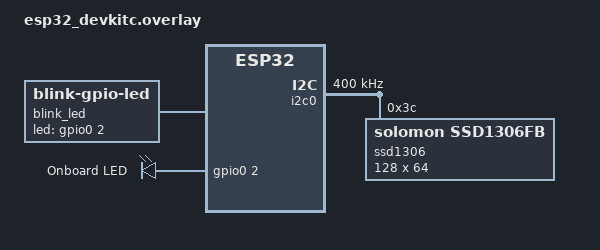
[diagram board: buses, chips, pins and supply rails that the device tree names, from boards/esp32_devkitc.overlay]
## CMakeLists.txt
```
#===============================================================================
# nRF5340 DK Matter Smart Light - Dual-Core Build System
#===============================================================================
#
# Copyright (c) 2025 Sprchuoi
# SPDX-License-Identifier: Apache-2.0
#
# Purpose:
#   Production-grade build configuration for Matter smart light on nRF5340 DK
#   Builds separate firmware images for APP core (Matter) and NET core (Thread)
#
# Architecture:
#   ┌──────────────────────────────────────────┐
#   │         nRF5340 DK Dual Core             │\n#   ├──────────────────────────────────────────┤
#   │ APP Core (Cortex-M33 @ 128MHz)           │\n#   │ - Matter protocol + Light control         │\n#   │ - LED/Button handling                    │\n#   │ - User-facing commissioning               │\n#   │ - Cluster attributes & reporting         │\n#   ├──────────────────────────────────────────┤
#   │ NET Core (Cortex-M33 @ 64MHz)            │\n#   │ - OpenThread 802.15.4 stack               │\n#   │ - BLE commissioning radio                │\n#   │ - Network join & routing                 │\n#   │ - Radio scheduler                       │\n#   └──────────────────────────────────────────┘
#
# Build Targets:
#   - nrf5340dk_nrf5340_cpuapp: Matter application\n#   - nrf5340dk_nrf5340_cpunet: Thread networking
#
# Usage:\n#   west build -b nrf5340dk_nrf5340_cpuapp -d build_app .\n#   west build -b nrf5340dk_nrf5340_cpunet -d build_net .
#
#===============================================================================

cmake_minimum_required(VERSION 3.13.1)

# Select appropriate device tree overlay based on target core
if(CONFIG_SOC_NRF5340_CPUAPP)
    set(DTC_OVERLAY_FILE "${CMAKE_CURRENT_SOURCE_DIR}/boards/nrf5340dk_nrf5340_cpuapp.overlay")
elseif(CONFIG_SOC_NRF5340_CPUNET)
    set(DTC_OVERLAY_FILE "${CMAKE_CURRENT_SOURCE_DIR}/boards/nrf5340dk_nrf5340_cpunet.overlay")
endif()

find_package(Zephyr REQUIRED HINTS $ENV{ZEPHYR_BASE})

project(nrf5340_matter_light LANGUAGES C CXX)

# C++ Standard Library
set(CMAKE_CXX_STANDARD 17)
set(CMAKE_CXX_STANDARD_REQUIRED ON)

# ===== APP CORE SOURCES - Matter Protocol + LED/Button Control =====
# Target: nrf5340dk_nrf5340_cpuapp (Cortex-M33 @ 128 MHz)
if(CONFIG_SOC_NRF5340_CPUAPP)
    target_sources(app PRIVATE
        # Core application - main entry point and event loop
        src/app_core/app_core.cpp
        src/app_core/cpp_support.cpp
        
        # Shared SDK - Protocol layer (Matter + Thread)
        src/sdk/protocol/matter/control_app/app_task.cpp
        src/sdk/protocol/matter/control_app/app_task_phase0.cpp
        src/sdk/protocol/matter/control_app/app_task_phase1.cpp
        src/sdk/protocol/matter/control_app/app_task_phase2.cpp
        src/sdk/protocol/matter/control_app/app_task_phase3.cpp
        src/sdk/protocol/matter/control_app/app_task_phase4.cpp
        src/sdk/protocol/matter/control_app/app_task_phase5.cpp
        src/sdk/protocol/matter/control_app/app_task_phase6.cpp
        src/sdk/protocol/matter/light_endpoint/light_endpoint.cpp
        src/sdk/protocol/matter/commission/commissioning_delegate.cpp
        src/sdk/protocol/thread/thread_network_manager.cpp
        src/sdk/protocol/thread/network_resilience_manager.cpp
        
        # Shared SDK - Hardware abstraction layer
        src/sdk/hw/button/button_manager.cpp
        src/sdk/hw/uart/uart_manager.cpp
        
        # Shared SDK - IPC module for inter-core communication
        src/sdk/ipc/ipc_core.cpp
    )
endif()

# ===== NET CORE SOURCES - OpenThread + BLE Radio =====
# Target: nrf5340dk_nrf5340_cpunet (Cortex-M33 @ 64 MHz)
if(CONFIG_SOC_NRF5340_CPUNET)
    target_sources(app PRIVATE 
        # Network core with state machine
        src/net_core/net_core.cpp
        
        # Shared SDK - IPC module for inter-core communication
        src/sdk/ipc/ipc_core.cpp
        
        # Shared SDK - Protocol layer (BLE and Radio subsystems)
        src/sdk/protocol/ble/ble_manager.cpp
        src/sdk/protocol/radio/radio_manager.cpp
    )
endif()

#===============================================================================
# INCLUDE DIRECTORIES - Source Tree Organization
#===============================================================================
# Make headers available throughout the project
target_include_directories(app PRIVATE 
    src                                    # Core source root
    src/app_core                           # APP core headers
    src/net_core                           # NET core headers
    src/sdk                                # Shared SDK headers root
    src/sdk/hw                             # Hardware abstraction layer
    src/sdk/protocol                       # Protocol layer
    src/sdk/services                       # Services layer
    src/sdk/ipc                            # IPC headers
    ${CMAKE_CURRENT_SOURCE_DIR}/../include # Public API headers
)

#===============================================================================
# LINK LIBRARIES - C++ Standard Library
#===============================================================================
# Link against C++ standard library for C++ features
target_link_libraries(app PRIVATE stdc++)
```

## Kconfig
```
# Copyright (c) 2021 Nordic Semiconductor ASA
# SPDX-License-Identifier: Apache-2.0
#
# This file is the application Kconfig entry point. All application Kconfig
# options can be defined here or included via other application Kconfig files.
# You can browse these options using the west targets menuconfig (terminal) or
# guiconfig (GUI).

menu "Zephyr"
source "Kconfig.zephyr"
endmenu

module = APP
module-str = APP
source "subsys/logging/Kconfig.template.log_config"

menu "Voice Control"

config APP_VOICE_CONTROL
	bool "Enable voice control features"
	default y
	help
	  Enable voice control with I2S microphone, wake-word detection,
	  MQTT communication, and OTA updates.

config APP_I2S_MIC
	bool "Enable I2S microphone"
	depends on APP_VOICE_CONTROL
	depends on I2S
	default y
	help
	  Enable I2S MEMS microphone (e.g., INMP441) for audio capture.

config APP_WAKEWORD
	bool "Enable wake-word detection"
	depends on APP_VOICE_CONTROL
	default y
	help
	  Enable local wake-word detection for voice activation.

if APP_WAKEWORD

choice APP_WAKEWORD_MODEL_TYPE
	prompt "Wake-word model type"
	default APP_WAKEWORD_MODEL_EDGE_IMPULSE
	help
	  Select the type of model to use for wake-word detection.

config APP_WAKEWORD_MODEL_EDGE_IMPULSE
	bool "Edge Impulse model"
	help
	  Use an Edge Impulse trained model (TensorFlow Lite for Microcontrollers).

config APP_WAKEWORD_MODEL_CUSTOM
	bool "Custom model"
	help
	  Use a custom model format.

config APP_WAKEWORD_MODEL_PLACEHOLDER
	bool "Placeholder (energy-based detection)"
	help
	  Use simple energy-based detection for testing without a real model.

endchoice

config APP_WAKEWORD_MODEL_FILE
	string "Model file path"
	default "wakeword_model.tflite"
	depends on APP_WAKEWORD_MODEL_EDGE_IMPULSE || APP_WAKEWORD_MODEL_CUSTOM
	help
	  Path to the model file (relative to project root or absolute).
	  For Edge Impulse, this should be a .tflite file.

config APP_WAKEWORD_MODEL_EMBEDDED
	bool "Embed model in binary"
	default y
	depends on APP_WAKEWORD_MODEL_EDGE_IMPULSE || APP_WAKEWORD_MODEL_CUSTOM
	help
	  Embed the model data directly in the firmware binary.
	  If disabled, model will be loaded from external storage.

config APP_WAKEWORD_ARENA_SIZE
	int "TensorFlow Lite arena size (bytes)"
	default 8192
	depends on APP_WAKEWORD_MODEL_EDGE_IMPULSE
	help
	  Memory arena size for TensorFlow Lite Micro operations.
	  Adjust based on model complexity.

endif # APP_WAKEWORD

config APP_MQTT
	bool "Enable MQTT client"
	depends on APP_VOICE_CONTROL
	depends on MQTT_LIB
	depends on NET_IPV4
	default y
	help
	  Enable MQTT client for communication with Raspberry Pi broker.

config APP_OTA
	bool "Enable OTA updates"
	depends on APP_VOICE_CONTROL
	depends on BOOTLOADER_MCUBOOT
	depends on HTTP_CLIENT
	default y
	help
	  Enable over-the-air firmware updates via HTTP.

config APP_VERSION
	string "Application version"
	default "1.0.0"
	help
	  Semantic version string for the application.

endmenu

menu "WiFi Configuration"

config WIFI_SSID
	string "WiFi SSID for station mode"
	default "ESP32_Network"
	help
	  WiFi network SSID to connect to in station mode.
	  Override in wifi_config.conf (gitignored).

config WIFI_PASSWORD
	string "WiFi password for station mode"
	default "password123"
	help
	  WiFi network password for station mode.
	  Override in wifi_config.conf (gitignored).

config WIFI_AP_SSID
	string "WiFi SSID for AP mode"
	default "ESP32_SmartHome"
	help
	  WiFi access point SSID when running in AP mode.

config WIFI_AP_PASSWORD
	string "WiFi password for AP mode"
	default "12345678"
	help
	  WiFi access point password (minimum 8 characters).

config WIFI_CHANNEL
	int "WiFi channel hint (0 = scan all channels)"
	default 0
	range 0 13
	help
	  If you know which channel your WiFi router uses, set it here
	  to speed up connection (skips scanning other channels).
	  Set to 0 to scan all channels (slower but more reliable).
	  Common channels: 1, 6, 11 (non-overlapping in 2.4GHz).
	  
	  To find your router's channel:
	  - Windows: netsh wlan show networks mode=bssid
	  - Linux: iwlist scan | grep Channel
	  - Router admin page: Look for "Wireless Channel"

endmenu

menu "MQTT Configuration"

config MQTT_BROKER_HOSTNAME
	string "MQTT broker hostname or IP address"
	default "192.168.2.1"
	help
	  MQTT broker hostname or IP address to connect to.
	  Override in mqtt_config.conf (gitignored).

config MQTT_BROKER_PORT
	int "MQTT broker port"
	default 1883
	range 1 65535
	help
	  MQTT broker TCP port (typically 1883 for non-TLS, 8883 for TLS).

config MQTT_CLIENT_ID
	string "MQTT client ID"
	default "esp32_001"
	help
	  Unique client identifier for MQTT connection.
	  Override in mqtt_config.conf (gitignored).

config MQTT_USERNAME
	string "MQTT username"
	default "esp32_user"
	help
	  MQTT broker authentication username.
	  Override in mqtt_config.conf (gitignored).

config MQTT_PASSWORD
	string "MQTT password"
	default "password"
	help
	  MQTT broker authentication password.
	  Override in mqtt_config.conf (gitignored).

config MQTT_DEVICE_ID
	string "Device ID for MQTT topics"
	default "esp32_001"
	help
	  Device identifier used in MQTT topic names.
	  Example: smart_home/devices/{device_id}/status

endmenu
```

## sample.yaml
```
# This file is provided so that the application can be compiled using Twister,
# the Zephyr testing tool. In this file, multiple combinations can be specified,
# so that you can easily test all of them locally or in CI.
sample:
  description: Smart Home Application
  name: smart-home-application
common:
  build_only: true
  integration_platforms:
    - custom_plank
    - nucleo_f302r8
    - esp32_wroom_32
tests:
  app.default: {}
  app.debug:
    extra_overlay_confs:
      - debug.conf
```

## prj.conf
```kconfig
# nRF5340 DK Matter Smart Light - Minimal Configuration
# Dual-core: APP core + NET core

#===============================================================================
# ZEPHYR KERNEL
#===============================================================================
CONFIG_MAIN_STACK_SIZE=4096
CONFIG_SYSTEM_WORKQUEUE_STACK_SIZE=2048
CONFIG_HEAP_MEM_POOL_SIZE=8192

#===============================================================================
# GPIO (Buttons & LEDs)
#===============================================================================
CONFIG_GPIO=y

#===============================================================================
# UART & LOGGING
#===============================================================================
CONFIG_SERIAL=y
CONFIG_UART_CONSOLE=y
CONFIG_CONSOLE=y
CONFIG_PRINTK=y
CONFIG_LOG=y
CONFIG_LOG_BACKEND_UART=y
CONFIG_LOG_MODE_IMMEDIATE=y
CONFIG_LOG_DEFAULT_LEVEL=4

#===============================================================================
# C++ SUPPORT (for app_core.cpp)
#===============================================================================
CONFIG_CPP=y
CONFIG_STD_CPP17=y
CONFIG_NEWLIB_LIBC=y

#===============================================================================
# FLASH & STORAGE
#===============================================================================
CONFIG_FLASH=y
CONFIG_FLASH_MAP=y
CONFIG_NVS=y
CONFIG_SETTINGS=y
CONFIG_SETTINGS_NVS=y

#===============================================================================
# DEBUG
#===============================================================================
CONFIG_DEBUG=y
CONFIG_DEBUG_OPTIMIZATIONS=y
CONFIG_ASSERT=y

#===============================================================================
# IPC (Inter-Processor Communication) - Dual Core Communication
#===============================================================================
CONFIG_IPC_SERVICE=y
CONFIG_MBOX=y
CONFIG_IPC_SERVICE_BACKEND_RPMSG=y
CONFIG_IPC_SERVICE_STATIC_VRINGS=y
CONFIG_IPC_SERVICE_STATIC_VRINGS_MEM_ALIGNMENT=4

# Increase IPC buffer sizes for better throughput
CONFIG_RPMSG_SERVICE_NUM_ENDPOINTS=2
CONFIG_HEAP_MEM_POOL_SIZE=16384

#======= OS SYstem ======
CONFIG_REBOOT=y # Enable sys_reboot function

# Fault diagnostics
CONFIG_FAULT_DUMP=2
CONFIG_EXCEPTION_STACK_TRACE=y
```

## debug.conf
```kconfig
# Copyright (c) 2021 Nordic Semiconductor ASA
# SPDX-License-Identifier: Apache-2.0
#
# This is a Kconfig fragment which can be used to enable debug-related options
# in the application. See the README for more details.

# compiler
# CONFIG_DEBUG_OPTIMIZATIONS=y

# logging
CONFIG_LOG=y
CONFIG_LOG_DEFAULT_LEVEL=2
```

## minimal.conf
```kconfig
# Minimal Voice Control Configuration
# MQTT + OTA + Health Ping only

# Voice Control (minimal)
CONFIG_APP_VOICE_CONTROL=y
CONFIG_APP_I2S_MIC=n
CONFIG_APP_WAKEWORD=n
CONFIG_APP_MQTT=y
CONFIG_APP_OTA=y
CONFIG_APP_VERSION="1.0.0"

# Disable unused modules
CONFIG_APP_SENSOR=n
CONFIG_APP_DISPLAY=n

# MQTT Configuration
CONFIG_MQTT_LIB=y
CONFIG_MQTT_KEEPALIVE=60

# Networking
CONFIG_NETWORKING=y
CONFIG_NET_IPV4=y
CONFIG_NET_TCP=y
CONFIG_NET_SOCKETS=y
CONFIG_DNS_RESOLVER=y

# HTTP Client for OTA
CONFIG_HTTP_CLIENT=y

# MCUboot for OTA
CONFIG_BOOTLOADER_MCUBOOT=y
CONFIG_IMG_MANAGER=y
CONFIG_MCUBOOT_IMG_MANAGER=y
CONFIG_FLASH=y
CONFIG_FLASH_MAP=y

# WiFi
CONFIG_WIFI=y
CONFIG_WIFI_ESP32=y

# Reduce memory footprint
CONFIG_MAIN_STACK_SIZE=2048
CONFIG_HEAP_MEM_POOL_SIZE=16384
CONFIG_BT=n
CONFIG_I2S=n

# Minimal logging
CONFIG_LOG=y
CONFIG_LOG_MODE_MINIMAL=y
```

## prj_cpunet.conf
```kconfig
# nRF5340 DK NET Core - OpenThread + BLE Configuration
# Network core for Thread protocol stack

#===============================================================================
# ZEPHYR KERNEL (Minimal for NET core)
#===============================================================================
CONFIG_MAIN_STACK_SIZE=2048
CONFIG_SYSTEM_WORKQUEUE_STACK_SIZE=1024
CONFIG_HEAP_MEM_POOL_SIZE=4096

#===============================================================================
# BLUETOOTH LE (for Matter commissioning)
#===============================================================================
CONFIG_BT=y
CONFIG_BT_PERIPHERAL=y
CONFIG_BT_CENTRAL=n
CONFIG_BT_DEVICE_NAME="nRF5340-Thread"

#===============================================================================
# IEEE 802.15.4 RADIO
#===============================================================================
CONFIG_IEEE802154=y
CONFIG_IEEE802154_NRF5=y
CONFIG_IEEE802154_VENDOR_OUI_ENABLE=y

#===============================================================================
# IPC (Inter-Processor Communication)
#===============================================================================
CONFIG_IPC_SERVICE=y
CONFIG_MBOX=y

#===============================================================================
# LOGGING (Minimal - NET core logs via IPC)
#===============================================================================
CONFIG_LOG=y
CONFIG_LOG_DEFAULT_LEVEL=2
CONFIG_LOG_MODE_MINIMAL=y

#===============================================================================
# DEBUG
#===============================================================================
CONFIG_DEBUG=y
CONFIG_DEBUG_OPTIMIZATIONS=y

#===============================================================================
# C++ SUPPORT
#===============================================================================
CONFIG_CPP=y
CONFIG_STD_CPP17=y
CONFIG_STATIC_INIT_GNU=y
```

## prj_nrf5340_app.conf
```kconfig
#
# Copyright (c) 2025 Sprchuoi
# SPDX-License-Identifier: Apache-2.0
#
# Matter Smart Light on nRF5340 DK
# APP Core Configuration (Matter + LED/Button)


# ====== Bluetooth (for Matter commissioning) ======
CONFIG_BT=y
CONFIG_BT_PERIPHERAL=y
CONFIG_BT_DEVICE_NAME="nRF5340 Matter Light"
CONFIG_BT_MAX_CONN=1
CONFIG_BT_MAX_PAIRED=1
CONFIG_BT_GATT_DYNAMIC_DB=y
CONFIG_BT_GATT_SERVICE_CHANGED=y

# ====== GPIO & LED Control ======
CONFIG_GPIO=y

# ====== Kernel ======
CONFIG_MAIN_STACK_SIZE=4096
CONFIG_SYSTEM_WORKQUEUE_STACK_SIZE=2048
CONFIG_INIT_STACKS=y

# ====== Memory & Storage ======
CONFIG_FLASH=y
CONFIG_SETTINGS=y
CONFIG_SETTINGS_NVS=y

# ====== Networking (6LoWPAN) ======
CONFIG_NETWORKING=y
CONFIG_NET_IPV6=y
CONFIG_NET_UDP=y
CONFIG_COAP=y

# ====== Serial/UART ======
CONFIG_SERIAL=y
CONFIG_UART_CONSOLE=y
CONFIG_PRINTK=y

#======= OS SYstem ======
CONFIG_REBOOT=y # Enable sys_reboot function

# Required system options
CONFIG_MULTITHREADING=y
CONFIG_HEAP_MEM_POOL_SIZE=16384
CONFIG_IPC_SERVICE_BACKEND_RPMSG=y

#OPEN AMP Options
CONFIG_OPENAMP=y
CONFIG_OPENAMP_MASTER=y

# IPC service
CONFIG_IPC_SERVICE=y

# RPMsg
CONFIG_RPMSG_SERVICE=y
```

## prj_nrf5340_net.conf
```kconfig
#
# Copyright (c) 2025 Sprchuoi
# SPDX-License-Identifier: Apache-2.0
#
# NET Core Configuration
# Thread + BLE Commissioning on nRF5340

# ====== OpenThread (Thread Stack) ======
# CONFIG_OPENTHREAD_ENABLED=y
# CONFIG_OPENTHREAD_THREAD_VERSION=14
CONFIG_OPENTHREAD_COMMISSIONER=n
CONFIG_OPENTHREAD_JOINER=y
CONFIG_OPENTHREAD_MANUAL_START=y

# ====== 802.15.4 Radio ======
CONFIG_IEEE802154=y
CONFIG_IEEE802154_NRF5=y
CONFIG_IEEE802154_L2=y
# CONFIG_IEEE802154_NRF5_EXT_FULL_ADDRESS=y
# CONFIG_IEEE802154_ACK_TIMEOUT=5

# ====== Bluetooth (Commissioning) ======
CONFIG_BT=y
CONFIG_BT_LL_SW_SPLIT=y
CONFIG_BT_HCI=y

# ====== Logging ======
CONFIG_LOG=y
CONFIG_LOG_DEFAULT_LEVEL=2

# ====== Kernel ======
CONFIG_MAIN_STACK_SIZE=2048
CONFIG_SYSTEM_WORKQUEUE_STACK_SIZE=2048

# ====== Networking ======
CONFIG_NETWORKING=y
CONFIG_NET_IPV6=y
CONFIG_NET_UDP=y

# ====== Memory ======
CONFIG_FLASH=y
CONFIG_SETTINGS=y
CONFIG_SETTINGS_NVS=y

# ====== Serial/UART ======
CONFIG_SERIAL=y
CONFIG_UART_CONSOLE=y
CONFIG_PRINTK=y

# ====== IPC (Inter-Processor Communication) ======
CONFIG_IPC_SERVICE=y
CONFIG_MBOX=y
CONFIG_IPC_SERVICE_BACKEND_RPMSG=y
CONFIG_IPC_SERVICE_STATIC_VRINGS=y
CONFIG_IPC_SERVICE_STATIC_VRINGS_MEM_ALIGNMENT=4

# ====== C++ Support for IPC Module ======
CONFIG_CPP=y
CONFIG_STD_CPP17=y
CONFIG_NEWLIB_LIBC=y
CONFIG_HEAP_MEM_POOL_SIZE=8192

# OpenAMP
CONFIG_OPENAMP=y
CONFIG_RPMSG=y
CONFIG_OPENAMP_RSC_TABLE=y
CONFIG_OPENAMP_REMOTE=y
CONFIG_IPC_SERVICE_BACKEND_OPENAMP=y
# RPMsg
CONFIG_RPMSG_SERVICE=y

# Debug (strongly recommended)
CONFIG_DEBUG=y
CONFIG_NO_OPTIMIZATIONS=y
CONFIG_USE_SEGGER_RTT=y
CONFIG_LOG_BACKEND_RTT=y
CONFIG_LOG_BACKEND_UART=n


# Required helpers
CONFIG_NET_L2_IEEE802154=y
CONFIG_NET_PKT_RX_COUNT=16
CONFIG_NET_PKT_TX_COUNT=16
```

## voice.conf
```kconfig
# Voice Control Configuration
CONFIG_APP_VOICE_CONTROL=y
CONFIG_APP_I2S_MIC=y
CONFIG_APP_WAKEWORD=y
CONFIG_APP_WAKEWORD_MODEL_PLACEHOLDER=y
CONFIG_APP_MQTT=y
CONFIG_APP_OTA=y
CONFIG_APP_VERSION="1.0.0"

# I2S Configuration
CONFIG_I2S=y

# MQTT Configuration
CONFIG_MQTT_LIB=y
CONFIG_MQTT_KEEPALIVE=60

# Networking for MQTT
CONFIG_NETWORKING=y
CONFIG_NET_IPV4=y
CONFIG_NET_TCP=y
CONFIG_NET_SOCKETS=y
CONFIG_DNS_RESOLVER=y

# HTTP Client for OTA
CONFIG_HTTP_CLIENT=y

# MCUboot for OTA
CONFIG_BOOTLOADER_MCUBOOT=y
CONFIG_IMG_MANAGER=y
CONFIG_MCUBOOT_IMG_MANAGER=y
CONFIG_FLASH=y
CONFIG_FLASH_MAP=y

# Flash partitions
CONFIG_PM_PARTITION_SIZE_MCUBOOT=0x10000
CONFIG_PM_PARTITION_SIZE_IMAGE_0=0x100000
CONFIG_PM_PARTITION_SIZE_IMAGE_1=0x100000

# Increase stack sizes for voice processing
CONFIG_MAIN_STACK_SIZE=4096
CONFIG_SYSTEM_WORKQUEUE_STACK_SIZE=2048

# Floating point for audio processing
CONFIG_FPU=y
```

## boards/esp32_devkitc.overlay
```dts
/*
 * Copyright (c) 2021 Nordic Semiconductor ASA
 * SPDX-License-Identifier: Apache-2.0
 */

/* This devicetree overlay file will be automatically picked by the Zephyr
 * build system when building the sample for the esp32_devkitc_wroom board.
 */

/ {
	example_sensor: example-sensor {
		compatible = "zephyr,example-sensor";
		input-gpios = <&gpio0 0 (GPIO_PULL_UP | GPIO_ACTIVE_LOW)>;
		status = "disabled";  /* Disable for ESP32 - no physical sensor */
	};

	blink_led: blink-led {
		compatible = "blink-gpio-led";
		led-gpios = <&gpio0 2 GPIO_ACTIVE_HIGH>;  /* Onboard LED on ESP32 DevKitC */
		blink-period-ms = <1000>;
	};

	chosen {
		zephyr,display = &ssd1306;
	};
	
	aliases {
		led0 = &board_led;
	};
	
	leds {
		compatible = "gpio-leds";
		board_led: led_0 {
			gpios = <&gpio0 2 GPIO_ACTIVE_HIGH>;
			label = "Onboard LED";
		};
	};
};

&i2c0 {
	status = "okay";
	clock-frequency = <I2C_BITRATE_FAST>;
	pinctrl-0 = <&i2c0_default>;
	pinctrl-names = "default";

	ssd1306: ssd1306@3c {
		compatible = "solomon,ssd1306fb";
		reg = <0x3c>;
		width = <128>;
		height = <64>;
		segment-offset = <0>;
		page-offset = <0>;
		display-offset = <0>;
		multiplex-ratio = <63>;
		prechargep = <0x22>;
	};
};

/ {
	wifi_ap: wifi_ap {
		compatible = "espressif,esp32-wifi";
		status = "okay";
	};
};

/* I2S Configuration for INMP441 Microphone */
/ {
	i2s_pinctrl: i2s_pinctrl {
		compatible = "gpio";
		/* INMP441 wiring:
		 * SCK (BCLK) -> GPIO26
		 * WS  (LRCLK) -> GPIO25
		 * SD  (DIN)   -> GPIO33
		 */
		bclk-pin = <26>;
		ws-pin = <25>;
		din-pin = <33>;
	};
};
```

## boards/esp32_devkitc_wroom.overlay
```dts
/*
 * Copyright (c) 2021 Nordic Semiconductor ASA
 * SPDX-License-Identifier: Apache-2.0
 */

/* This devicetree overlay file will be automatically picked by the Zephyr
 * build system when building the sample for the esp32_devkitc_wroom board.
 */

/ {
	example_sensor: example-sensor {
		compatible = "zephyr,example-sensor";
		input-gpios = <&gpio0 0 (GPIO_PULL_UP | GPIO_ACTIVE_LOW)>;
	};

	blink_led: blink-led {
		compatible = "blink-gpio-led";
		led-gpios = <&gpio0 2 GPIO_ACTIVE_HIGH>;
		blink-period-ms = <1000>;
	};
};
```

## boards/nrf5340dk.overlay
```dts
/* 
 * Copyright (c) 2025 Sprchuoi
 * SPDX-License-Identifier: Apache-2.0
 *
 * APP Core Device Tree Overlay for nRF5340 DK
 * Matter Smart Light with Thread networking - 4 LED control
 */

/* 
 * APP Core Device Tree Overlay for nRF5340 DK
 */

/* APP Core Device Tree Overlay for nRF5340 DK */

&pinctrl {
    i2c0_default: i2c0_default {
        group1 {
            psels = <NRF_PSEL(TWIM_SDA, 0, 26)>,
                    <NRF_PSEL(TWIM_SCL, 0, 27)>;
        };
    };

    i2c0_sleep: i2c0_sleep {
        group1 {
            psels = <NRF_PSEL(TWIM_SDA, 0, 26)>,
                    <NRF_PSEL(TWIM_SCL, 0, 27)>;
            low-power-enable;
        };
    };
};

 / {
    aliases {
        led0 = &led0;
        led1 = &led1;
        led2 = &led2;
        led3 = &led3;
        sw0 = &button0;
        sw1 = &button1;
        sw2 = &button2;
        sw3 = &button3;
    };

    chosen {
        zephyr,console = &uart0;
        zephyr,shell-uart = &uart0;
        zephyr,ipc-shm = &sram0_shared;
    };
};

/* Shared memory for OpenAMP */
&sram0_shared {
    compatible = "shared-dma-pool";
    reg = <0x20070000 0x10000>; /* 64 KB */
};

&uart0 {
    status = "okay";
    current-speed = <115200>;
};

&i2c0 {
    compatible = "nordic,nrf-twim";
    status = "okay";
    pinctrl-0 = <&i2c0_default>;
    pinctrl-1 = <&i2c0_sleep>;
    pinctrl-names = "default", "sleep";
};
```

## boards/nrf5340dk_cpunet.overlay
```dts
/* 
 * NET Core Device Tree Overlay for nRF5340 DK
 * OpenThread + BLE radio management
 */

/ {
    chosen {
        zephyr,ieee802154 = &ieee802154;
        zephyr,ipc-shm = &sram0_shared;
    };
};

&sram0_shared {
    compatible = "shared-dma-pool";
    reg = <0x20070000 0x10000>; /* 64 KB */
};
```

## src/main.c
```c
/*
 * Copyright (c) 2021 Nordic Semiconductor ASA
 * SPDX-License-Identifier: Apache-2.0
 */

#include <zephyr/kernel.h>
#include <zephyr/logging/log.h>

#include <app_version.h>

#include "modules/blink/blink_module.h"
#include "modules/sensor/sensor_module.h"
#include "modules/ble/ble_module.h"
#include "modules/wifi/wifi_module.h"
#include "modules/display/display_module.h"
#include "modules/button/button_module.h"

#include "thread/blink_task.h"
#include "thread/sensor_task.h"
#include "thread/ble_task.h"
#include "thread/wifi_task.h"
#include "thread/display_task.h"

LOG_MODULE_REGISTER(main, CONFIG_APP_LOG_LEVEL);

/// Updated for ESP32-WROOM-32 DevKit

int main(void)
{
	int ret;

	printk("Zephyr Example Application %s\n", APP_VERSION_STRING);
	printk("ESP32-WROOM-32 with Modular Architecture\n");

	/* Initialize modules */
	ret = blink_module_init();
	if (ret < 0) {
		LOG_ERR("Failed to initialize blink module (%d)", ret);
		return 0;
	}

	ret = sensor_module_init();
	if (ret < 0) {
		LOG_ERR("Failed to initialize sensor module (%d)", ret);
		return 0;
	}

	ret = ble_module_init();
	if (ret < 0) {
		LOG_ERR("Failed to initialize BLE module (%d)", ret);
		return 0;
	}

	/* Initialize WiFi in AP+STA mode (default) */
	ret = wifi_module_init(WIFI_MODE_AP_STA);
	if (ret < 0) {
		LOG_ERR("Failed to initialize WiFi module (%d)", ret);
		return 0;
	}

	ret = display_module_init();
	if (ret < 0) {
		LOG_ERR("Failed to initialize display module (%d)", ret);
		return 0;
	}

	ret = button_module_init();
	if (ret < 0) {
		LOG_ERR("Failed to initialize button module (%d)", ret);
		return 0;
	}

	LOG_INF("All modules initialized");
	printk("Use the sensor to change LED blinking period\n");

	/* Start task threads */
	ret = blink_task_start();
	if (ret < 0) {
		LOG_ERR("Failed to start blink task (%d)", ret);
		return 0;
	}

	ret = sensor_task_start();
	if (ret < 0) {
		LOG_ERR("Failed to start sensor task (%d)", ret);
		return 0;
	}

	ret = ble_task_start();
	if (ret < 0) {
		LOG_ERR("Failed to start BLE task (%d)", ret);
		return 0;
	}

	ret = wifi_task_start();
	if (ret < 0) {
		LOG_ERR("Failed to start WiFi task (%d)", ret);
		return 0;
	}

	ret = display_task_start();
	if (ret < 0) {
		LOG_ERR("Failed to start display task (%d)", ret);
		return 0;
	}

	LOG_INF("All tasks started successfully");

	/* Main thread sleeps */
	while (1) {
		k_sleep(K_FOREVER);
	}

	return 0;
}
```

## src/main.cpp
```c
/*
 * Copyright (c) 2021 Nordic Semiconductor ASA
 * SPDX-License-Identifier: Apache-2.0
 */

#include <zephyr/kernel.h>
#include <zephyr/logging/log.h>
#include <app_version.h>

// C++ Module includes
#include "modules/blink/blinkmodule.hpp"
#include "modules/sensor/sensormodule.hpp"
#if defined(CONFIG_BT)
#include "modules/ble/bleservice.hpp"
#endif
#if defined(CONFIG_WIFI)
#include "modules/wifi/wifiservice.hpp"
#endif
#include "modules/display/displaymodule.hpp"
#include "modules/button/buttonmodule.hpp"
#include "modules/uart/uartmodule.hpp"

// Core infrastructure
#include "menu/menu.hpp"
#include "menu/menu_manager.hpp"

// Task headers
#include "thread/blink_task.h"
#include "thread/sensor_task.h"
#if defined(CONFIG_BT)
#include "thread/ble_task.h"
#endif
#if defined(CONFIG_WIFI)
#include "thread/wifi_task.h"
#endif
#if defined(CONFIG_MQTT_LIB)
#include "thread/mqtt_task.h"
#endif
#include "thread/display_task.h"
#include "thread/uart_task.h"

LOG_MODULE_REGISTER(main, CONFIG_APP_LOG_LEVEL);

/// ESP32-WROOM-32 with C++ OOP Architecture

// Forward declarations
static void Os_Init(void);
static void Os_Start(void);
static void menu_display_callback(MenuItem* menu, MenuItem* selected);

// Menu display callback wrapper
static void menu_display_callback(MenuItem* menu, MenuItem* selected)
{
	DisplayModule::getInstance().renderMenu(menu, selected);
}

extern "C" int main(void)
{
	printk("Zephyr Example Application %s\n", APP_VERSION_STRING);

	Os_Init(); // Initialize OS and modules
	
	Os_Start(); // Start OS threads

	/* Main thread sleeps */
	while (1) {
		k_sleep(K_FOREVER);
	}

	return 0;
}

static void Os_Init(void)
{
	int ret;
	
	// Zephyr OS initializes itself automatically.
	printk("Init OS and modules...\n");
	// Initialize all modules using C++ singletons
	ret = BlinkModule::getInstance().init();
	if (ret < 0) {
		LOG_ERR("Failed to initialize blink module (%d)", ret);
		return;
	}

	ret = SensorModule::getInstance().init();
	if (ret < 0) {
		LOG_WRN("Sensor module not available (%d) - continuing without sensor", ret);
	}

#if defined(CONFIG_BT)
	ret = BleService::getInstance().init();
	if (ret < 0) {
		LOG_ERR("Failed to initialize BLE Service (%d)", ret);
		return;
	}
#endif

#if defined(CONFIG_WIFI)
	ret = WiFiService::getInstance().init(WiFiService::Mode::AP_STA);
	if (ret < 0) {
		LOG_ERR("Failed to initialize WiFi service (%d)", ret);
		return;
	}
#endif

	ret = DisplayModule::getInstance().init();
	if (ret < 0) {
		LOG_ERR("Failed to initialize display module (%d)", ret);
		return;
	}

	ret = ButtonModule::getInstance().init();
	if (ret < 0) {
		LOG_WRN("Button module not available (%d) - continuing without button", ret);
	}

	// Initialize menu system
	ret = MenuManager::getInstance().init();
	if (ret < 0) {
		LOG_ERR("Failed to initialize menu manager (%d)", ret);
		return;
	}
	
	// Set display callback for menu system
	MenuSystem::getInstance().setDisplayCallback(menu_display_callback);

	LOG_INF("All modules initialized");
	printk("Use the sensor to change LED blinking period\n");
} 


static void Os_Start(void)
{
	int ret;
	
	printk("\n*** Starting all tasks ***\n");
	LOG_INF("Starting all tasks");
	
	// Zephyr OS starts its own scheduler automatically.
	// Start task threads
	// ret = blink_task_start();
	// if (ret < 0) {
	// 	LOG_ERR("Failed to start blink task (%d)", ret);
	// 	printk("FAILED to start blink task: %d\n", ret);
	// 	return;
	// }
	// printk("Blink task created\n");

	// ret = sensor_task_start();
	// if (ret < 0) {
	// 	LOG_ERR("Failed to start sensor task (%d)", ret);
	// 	printk("FAILED to start sensor task: %d\n", ret);
	// 	return;
	// }
	// printk("Sensor task created\n");

#if defined(CONFIG_BT)
	ret = ble_task_start();
	if (ret < 0) {
		LOG_ERR("Failed to start BLE task (%d)", ret);
		printk("FAILED to start BLE task: %d\n", ret);
		return;
	}
	printk("BLE task created\n");
#endif

#if defined(CONFIG_WIFI)
	ret = wifi_task_start();
	if (ret < 0) {
		LOG_ERR("Failed to start WiFi task (%d)", ret);
		printk("FAILED to start WiFi task: %d\n", ret);
		return;
	}
	printk("WiFi task created\n");
#endif

#if defined(CONFIG_MQTT_LIB)
	ret = mqtt_task_start();
	if (ret < 0) {
		LOG_ERR("Failed to start MQTT task (%d)", ret);
		printk("FAILED to start MQTT task: %d\n", ret);
		return;
	}
	printk("MQTT task created\n");
#endif

	// ret = display_task_start();
	// if (ret < 0) {
	// 	LOG_ERR("Failed to start display task (%d)", ret);
	// 	printk("FAILED to start display task: %d\n", ret);
	// 	return;
	// }
	// printk("Display task created\n");

	// ret = uart_task_start();
	// if (ret < 0) {
	// 	LOG_ERR("Failed to start UART task (%d)", ret);
	// 	printk("FAILED to start UART task: %d\n", ret);
	// 	return;
	// }
	printk("UART task created\n");
	

	LOG_INF("All tasks started successfully");
	printk("*** All tasks started successfully ***\n\n");
}
```

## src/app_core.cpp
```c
/*
 * Copyright (c) 2024 Nordic Semiconductor ASA
 * SPDX-License-Identifier: Apache-2.0
 *
 * ============================================================================
 * APP CORE - Matter Smart Light Application
 * ============================================================================
 * 
 * Purpose:
 *   Cortex-M33 @ 128 MHz - Matter Light Device with 4 LEDs
 *   Implements Matter protocol + hardware control layer
 *   Manages LED state machine and user input (button)
 *
 * Hardware:
 *   LED0-3: P0.28-31 (4 green LEDs on DK)
 *   Button: P0.23-26 (4 buttons on DK)
 *   UART:   P0.20/22 (debug @ 115200 baud)
 *
 * Features:
 *   - Matter OnOff + Level Control clusters
 *   - 4 LED brightness control
 *   - Button with 100ms debounce
 *   - LED state synchronization
 *   - BLE commissioning (shared radio)
 */

#include <zephyr/kernel.h>
#include <zephyr/logging/log.h>
#include <zephyr/drivers/gpio.h>
#include <zephyr/drivers/uart.h>
#include <zephyr/sys/printk.h>
#include <app_version.h>
#include <stdint.h>
#include <stdio.h>

/* Matter includes */
#include "modules/matter/app_task.hpp"
#include "modules/matter/light_endpoint.hpp"

/* Hardware control */
#include "modules/button/buttonmodule.hpp"
#include "modules/uart/uartmodule.hpp"

LOG_MODULE_REGISTER(app_core, CONFIG_LOG_DEFAULT_LEVEL);

/* Device tree references - 4 LEDs */
/* All 4 LEDs on the board */
static const struct gpio_dt_spec leds[] = {
	GPIO_DT_SPEC_GET(DT_ALIAS(led0), gpios),  /* P0.28 */
	GPIO_DT_SPEC_GET(DT_ALIAS(led1), gpios),  /* P0.29 */
	GPIO_DT_SPEC_GET(DT_ALIAS(led2), gpios),  /* P0.30 */
	GPIO_DT_SPEC_GET(DT_ALIAS(led3), gpios),  /* P0.31 */
};
#define NUM_LEDS 4

/* All 4 buttons on the board - each controls its corresponding LED */
static const struct gpio_dt_spec buttons[] = {
	GPIO_DT_SPEC_GET(DT_ALIAS(sw0), gpios),  /* P0.23 */
	GPIO_DT_SPEC_GET(DT_ALIAS(sw1), gpios),  /* P0.24 */
	GPIO_DT_SPEC_GET(DT_ALIAS(sw2), gpios),  /* P0.25 */
	GPIO_DT_SPEC_GET(DT_ALIAS(sw3), gpios),  /* P0.26 */
};
#define NUM_BUTTONS 4

/* LED state tracking - each button toggles its LED */
static bool led_state[NUM_LEDS] = {false, false, false, false};

/* Button debounce tracking */
static uint32_t last_button_press_ms[NUM_BUTTONS] = {0};
#define DEBOUNCE_MS 100

/* Threads for button handling */
static struct k_thread button_thread_data[NUM_BUTTONS];
static k_tid_t button_thread_id[NUM_BUTTONS];
static K_THREAD_STACK_DEFINE(button_stack_0, 512);
static K_THREAD_STACK_DEFINE(button_stack_1, 512);
static K_THREAD_STACK_DEFINE(button_stack_2, 512);
static K_THREAD_STACK_DEFINE(button_stack_3, 512);
static k_thread_stack_t *button_stacks[] = {
	button_stack_0, button_stack_1, button_stack_2, button_stack_3
};

/*
 * Button callback - toggle corresponding LED
 * cb->pin_mask tells us which button was pressed
 */
static void button_pressed_callback(const struct device *dev, 
                                   struct gpio_callback *cb, 
                                   uint32_t pins)
{
	/* Find which button (0-3) was pressed */
	int button_idx = -1;
	for (int i = 0; i < NUM_BUTTONS; i++) {
		if (buttons[i].port == dev) {
			button_idx = i;
			break;
		}
	}
	
	if (button_idx < 0) {
		return;
	}
	
	uint32_t now = k_uptime_get_32();
	
	/* Debounce: ignore presses within DEBOUNCE_MS */
	if (now - last_button_press_ms[button_idx] < DEBOUNCE_MS) {
		return;
	}
	last_button_press_ms[button_idx] = now;
	
	/* Toggle the LED for this button */
	led_state[button_idx] = !led_state[button_idx];
	gpio_pin_set_dt(&leds[button_idx], led_state[button_idx] ? 1 : 0);
	
	LOG_INF("Button %d pressed - LED%d toggled to %s", 
	        button_idx, button_idx, led_state[button_idx] ? "ON" : "OFF");
}

/*
 * Button monitoring thread - one per button
 */
static void button_thread_func(void *arg1, void *arg2, void *arg3)
{
	int button_idx = (int)(intptr_t)arg1;
	ARG_UNUSED(arg2);
	ARG_UNUSED(arg3);
	
	LOG_INF("Button %d thread started", button_idx);
	
	const struct gpio_dt_spec *btn = &buttons[button_idx];
	
	if (!device_is_ready(btn->port)) {
		LOG_ERR("Button %d device not ready", button_idx);
		return;
	}
	
	int ret = gpio_pin_configure_dt(btn, GPIO_INPUT);
	if (ret < 0) {
		LOG_ERR("Failed to configure button %d: %d", button_idx, ret);
		return;
	}
	
	static struct gpio_callback button_cb_data[NUM_BUTTONS];
	gpio_init_callback(&button_cb_data[button_idx], button_pressed_callback, BIT(btn->pin));
	
	ret = gpio_add_callback(btn->port, &button_cb_data[button_idx]);
	if (ret < 0) {
		LOG_ERR("Failed to add button %d callback: %d", button_idx, ret);
		return;
	}
	
	ret = gpio_pin_interrupt_configure_dt(btn, GPIO_INT_EDGE_TO_ACTIVE);
	if (ret < 0) {
		LOG_ERR("Failed to configure button %d interrupt: %d", button_idx, ret);
		return;
	}
	
	LOG_INF("Button %d interrupt configured on P0.%d", button_idx, btn->pin);
	
	/* Thread keeps running for interrupt handling */
	while (1) {
		k_sleep(K_FOREVER);
	}
}

/*
 * APP Core initialization
 */
static int app_core_init(void)
{
	int ret;
	
	/* Early UART test - this should always print if UART is working */
	printk("\n\n*** nRF5340 DK Booting ***\n");
	printk("*** APP Core Starting ***\n\n");
	
	LOG_INF("============================================");
	LOG_INF("  nRF5340 DK Matter Smart Light (APP Core)  ");
	LOG_INF("  Version: %s", APP_VERSION_STRING);
	LOG_INF("  Cortex-M33 @ 128 MHz");
	LOG_INF("  4 LEDs: P0.28-31");
	LOG_INF("============================================");
	
	/* Initialize all 4 LEDs and turn them ON to verify GPIO works */
	for (int i = 0; i < NUM_LEDS; i++) {
		if (!device_is_ready(leds[i].port)) {
			LOG_ERR("LED%d device not ready", i);
			return -ENODEV;
		}
		
		ret = gpio_pin_configure_dt(&leds[i], GPIO_OUTPUT_ACTIVE);
		if (ret < 0) {
			LOG_ERR("Failed to configure LED%d: %d", i, ret);
			return ret;
		}
		
		/* Turn LED ON */
		led_state[i] = true;
		gpio_pin_set_dt(&leds[i], 1);
		LOG_INF("LED%d initialized and turned ON (P0.%d)", i, 28 + i);
	}
	LOG_INF("All 4 LEDs turned ON - verify all 4 green lights are visible");
	
	/* Initialize Matter application task */
	LOG_INF("Initializing Matter stack...");
	ret = Matter::AppTask::getInstance().init();
	if (ret < 0) {
		LOG_ERR("Failed to initialize Matter AppTask: %d", ret);
		return ret;
	}
	LOG_INF("Matter stack initialized");
	
	/* Initialize Light Endpoint */
	LOG_INF("Initializing Light Endpoint...");
	ret = Matter::LightEndpoint::getInstance().init();
	if (ret < 0) {
		LOG_ERR("Failed to initialize Light Endpoint: %d", ret);
		return ret;
	}
	LOG_INF("Light Endpoint initialized");
	
	/* Create button monitoring threads - one for each button */
	LOG_INF("Starting 4 button monitoring threads...");
	for (int i = 0; i < NUM_BUTTONS; i++) {
		button_thread_id[i] = k_thread_create(
			&button_thread_data[i],
			button_stacks[i],
			K_THREAD_STACK_SIZEOF(button_stack_0),
			button_thread_func,
			(void *)(intptr_t)i, NULL, NULL,
			K_PRIO_COOP(7),
			0,
			K_NO_WAIT
		);
		
		if (!button_thread_id[i]) {
			LOG_ERR("Failed to create button %d thread", i);
			return -ENOMEM;
		}
		
		char thread_name[16];
		snprintf(thread_name, sizeof(thread_name), "button_%d", i);
		k_thread_name_set(button_thread_id[i], thread_name);
		LOG_INF("Button %d thread created", i);
	}
	
	LOG_INF("APP Core initialization complete!");
	LOG_INF("Waiting for Matter commissioning...");
	
	return 0;
}

/*
 * APP Core main loop
 */
extern "C" int main(void)
{
	int ret = app_core_init();
	if (ret < 0) {
		LOG_ERR("APP Core initialization failed: %d", ret);
		return ret;
	}
	
	LOG_INF("APP Core main loop started");
	LOG_INF("Listening for Matter events and button input...");
	
	/* Main loop - process Matter events */
	while (1) {
		/* Matter event processing */
		Matter::AppTask::getInstance().dispatchEvent();
		
		/* Yield to other threads */
		k_sleep(K_MSEC(10));
	}
	
	return 0;
}

/* Initialize after POST_KERNEL phase */
SYS_INIT(app_core_init, POST_KERNEL, CONFIG_APPLICATION_INIT_PRIORITY);
```

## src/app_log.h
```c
/*
 * Copyright (c) 2025 Sprchuoi
 * SPDX-License-Identifier: Apache-2.0
 */

#ifndef APP_LOG_H
#define APP_LOG_H

/*
 * Common log level for application modules
 * Use this instead of CONFIG_APP_LOG_LEVEL which is auto-generated
 */

#ifndef APP_LOG_LEVEL
#ifdef CONFIG_APP_LOG_LEVEL
#define APP_LOG_LEVEL CONFIG_APP_LOG_LEVEL
#else
#define APP_LOG_LEVEL LOG_LEVEL_INF
#endif
#endif

#endif /* APP_LOG_H */
```

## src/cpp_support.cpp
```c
/*
 * Copyright (c) 2025 Sprchuoi
 * SPDX-License-Identifier: Apache-2.0
 */

/**
 * @file cpp_support.cpp
 * @brief Minimal C++ runtime support for embedded systems
 * 
 * Provides minimal implementations of C++ runtime functions
 * needed for singletons, exceptions, and memory management.
 */

#include <zephyr/kernel.h>
#include <zephyr/sys/printk.h>
#include <cstdint>

// Guard type for static initialization
typedef uint64_t __guard_t;

extern "C" {

// Thread-safe static initialization guards
static K_MUTEX_DEFINE(guard_mutex);

int __cxa_guard_acquire(__guard_t *g) {
    k_mutex_lock(&guard_mutex, K_FOREVER);
    return !*(char *)(g);
}

void __cxa_guard_release(__guard_t *g) {
    *(char *)g = 1;
    k_mutex_unlock(&guard_mutex);
}

void __cxa_guard_abort(__guard_t *g) {
    k_mutex_unlock(&guard_mutex);
}

} // extern "C"

// std::function exception stubs
namespace std {
    void __throw_bad_function_call() {
        printk("ERROR: Bad function call (nullptr std::function)\n");
        k_panic();
    }
    
    void __throw_length_error(const char* msg) {
        printk("ERROR: Length error: %s\n", msg);
        k_panic();
    }
    
    void __throw_bad_alloc() {
        printk("ERROR: Bad allocation\n");
        k_panic();
    }
} // namespace std
```

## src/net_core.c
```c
/*
 * Copyright (c) 2024 Nordic Semiconductor ASA
 * SPDX-License-Identifier: Apache-2.0
 *
 * ============================================================================
 * NET CORE - Radio Management for nRF5340 DK
 * ============================================================================
 * 
 * Purpose:
 *   Cortex-M33 @ 64 MHz - Network processor
 *   Manages IEEE 802.15.4 radio and BLE for Matter/Thread
 *
 * Architecture:
 *   This core runs the radio stack (Thread/BLE) separate from APP core
 *   Communication with APP core via IPC (Inter-Processor Communication)
 *
 * Note:
 *   Full OpenThread integration requires west manifest updates
 *   This minimal version initializes radio and BLE for future expansion
 */

#include <zephyr/kernel.h>
#include <zephyr/logging/log.h>

#ifdef CONFIG_BT
#include <zephyr/bluetooth/bluetooth.h>
#include <zephyr/bluetooth/hci.h>
#endif

#ifdef CONFIG_IEEE802154
#include <zephyr/net/ieee802154_radio.h>
#endif

LOG_MODULE_REGISTER(net_core, CONFIG_LOG_DEFAULT_LEVEL);

/**
 * Main entry point for NET core
 * Initializes radio stack (BLE + 802.15.4)
 */
int main(void)
{
	LOG_INF("nRF5340 NET Core starting...");
	LOG_INF("CPU: Cortex-M33 @ 64 MHz");
	
#ifdef CONFIG_BT
	int err = bt_enable(NULL);
	if (err) {
		LOG_ERR("Bluetooth init failed (err %d)", err);
	} else {
		LOG_INF("Bluetooth LE enabled");
	}
#endif

#ifdef CONFIG_IEEE802154
	LOG_INF("IEEE 802.15.4 radio enabled");
#endif

	LOG_INF("NET Core initialized");
	LOG_INF("Waiting for IPC commands from APP core...");
	
	/* Main loop - handle radio events */
	while (1) {
		k_sleep(K_MSEC(1000));
		
		/* In production: Process OpenThread tasklets, BLE events, IPC messages */
		/* For now: Idle loop showing core is running */
	}

	return 0;
}
```
